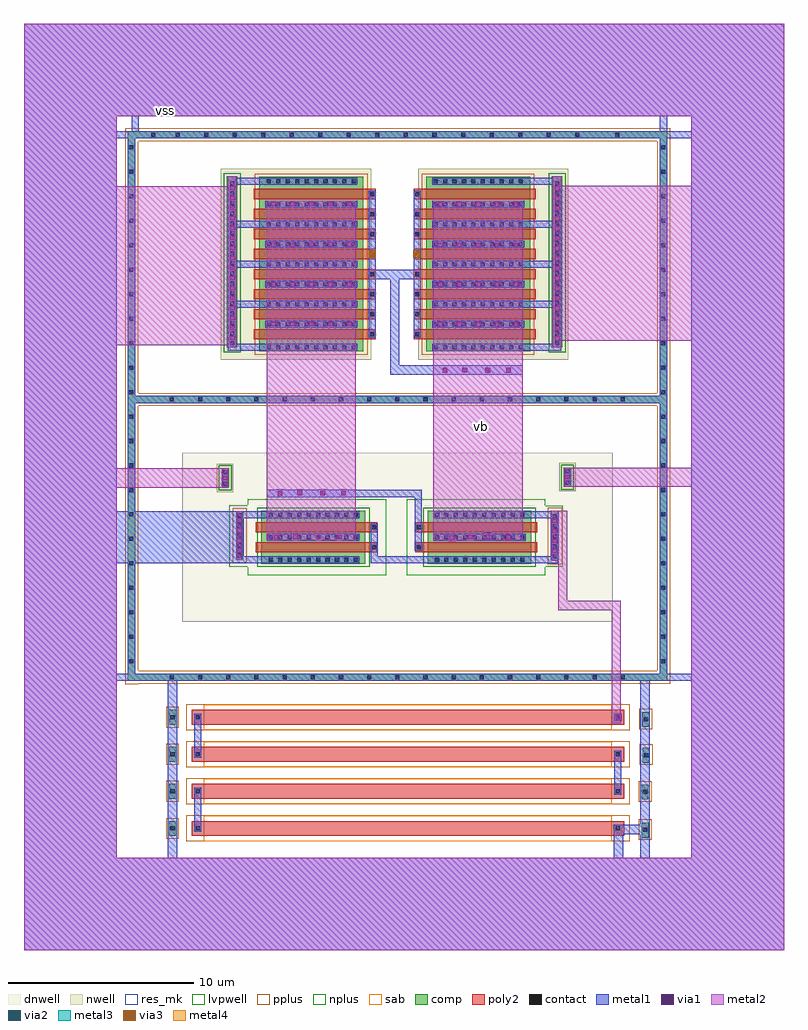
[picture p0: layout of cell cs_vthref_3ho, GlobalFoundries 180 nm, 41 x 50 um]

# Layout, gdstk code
from math import pi, radians
import gdstk
lib = gdstk.Library(unit=1e-6, precision=5e-09)
def R(c, l, rs):  # rectangles x0, y0, x1, y1
    for r in rs: c.add(gdstk.rectangle(r[:2], r[2:], *l))
def A(c, l, x, y, w, h, nx, ny, dx, dy):  # array of equal rectangles
    R(c, l, [(x+i*dx, y+j*dy, x+i*dx+w, y+j*dy+h) for i in range(nx) for j in range(ny)])
def P(c, l, *ps):  # polygons
    for p in ps: c.add(gdstk.Polygon(p, *l))
dnwell = (12, 0)
nwell = (21, 0)
comp = (22, 0)
poly2 = (30, 0)
pplus = (31, 0)
nplus = (32, 0)
contact = (33, 0)
metal1 = (34, 0)
via1 = (35, 0)
metal2 = (36, 0)
via2 = (38, 0)
via3 = (40, 0)
metal3 = (42, 0)
metal4 = (46, 0)
sab = (49, 0)
res_mk = (110, 5)
lvpwell = (204, 0)

pfet = lib.new_cell('pfet')

pfet_7 = lib.new_cell('pfet$7')
R(pfet_7, nwell, [(-0.9,-0.44,9.4,6.04)])
R(pfet_7, comp, [(-0.46,0,0,5.6), (0,0,8.5,5.6), (8.5,0,8.96,5.6)])
A(pfet_7, poly2, 0.19, -0.3, 0.56, 6.2, 8, 1, 1.08, 0)
A(pfet_7, poly2, 0.19, 5.9, 0.56, 0.38, 8, 1, 1.08, 0)
R(pfet_7, pplus, [(-0.63,-0.24,9.13,5.84)])
A(pfet_7, contact, -0.34, 0.395, 0.22, 0.22, 1, 10, 0, 0.51)
A(pfet_7, contact, 0.9, 0.395, 0.22, 0.22, 7, 10, 1.08, 0.51)
A(pfet_7, contact, 8.62, 0.395, 0.22, 0.22, 1, 10, 0, 0.51)
A(pfet_7, contact, 0.36, 5.98, 0.22, 0.22, 8, 1, 1.08, 0)
A(pfet_7, metal1, 0.82, 0.315, 0.38, 4.97, 7, 1, 1.08, 0)
A(pfet_7, metal1, 0.28, 5.9, 0.38, 0.38, 8, 1, 1.08, 0)
R(pfet_7, metal1, [(-0.42,0.315,-0.04,5.285), (8.54,0.315,8.92,5.285)])

via_dev_2 = lib.new_cell('via_dev$2')
R(via_dev_2, metal1, [(0,0,0.4,0.4)])
R(via_dev_2, via1, [(0.07,0.07,0.33,0.33)])
R(via_dev_2, metal2, [(0,0,0.4,0.4)])
R(via_dev_2, via2, [(0.07,0.07,0.33,0.33)])
R(via_dev_2, via3, [(0.07,0.07,0.33,0.33)])
R(via_dev_2, metal3, [(0,0,0.4,0.4)])
R(via_dev_2, metal4, [(0,0,0.4,0.4)])

cnt = lib.new_cell('CNT')

bgp = lib.new_cell('BGP')
P(bgp, nwell, [(-0.815,-5.15),(-0.815,5.15),(0.82,5.15),(0.82,3.28),(0.82,-5.15)])
R(bgp, comp, [(-0.495,-4.49,0.065,4.735)])
R(bgp, nplus, [(-0.675,-4.75,0.245,4.9)])
A(bgp, contact, -0.325, -4.375, 0.22, 0.22, 1, 17, 0, 0.54)
R(bgp, metal1, [(-0.45,-4.49,0.015,4.735)])
R(bgp, metal2, [(-0.45,-4.49,0.015,4.735)])

via1_ = lib.new_cell('VIA1')

via10 = lib.new_cell('VIA10')
R(via10, via1, [(-0.13,-0.13,0.13,0.13)])

ml1 = lib.new_cell('ML1')
R(ml1, metal1, [(-0.78,-0.19,0.78,0.19)])

ml1_0 = lib.new_cell('ML1_0')
R(ml1_0, metal1, [(-1.01,-0.19,1.015,0.19)])

cnt_g = lib.new_cell('CNT_G')

cnt_g2 = lib.new_cell('CNT_G2')

cnt_g3 = lib.new_cell('CNT_G3')
R(cnt_g3, contact, [(-1.225,14.175,-1.005,14.395)])

via11 = lib.new_cell('VIA11')

m1m2 = lib.new_cell('M1M2')

m1m22 = lib.new_cell('M1M22')

m1m23 = lib.new_cell('M1M23')

m1m24 = lib.new_cell('M1M24')

ppolyf_u_resistor = lib.new_cell('ppolyf_u_resistor')
R(ppolyf_u_resistor, comp, [(-1.88,0,-1.52,0.8)])
R(ppolyf_u_resistor, poly2, [(-0.66,0,22.66,0.8)])
R(ppolyf_u_resistor, pplus, [(-0.96,-0.3,22.96,1.1), (-2.04,-0.16,-1.36,0.96)])
R(ppolyf_u_resistor, contact, [(-1.81,0.29,-1.59,0.51), (-0.44,0.29,-0.22,0.51), (22.22,0.29,22.44,0.51)])
R(ppolyf_u_resistor, metal1, [(-1.89,0.21,-1.51,0.59), (-0.52,0.21,-0.14,0.59), (22.14,0.21,22.52,0.59)])
R(ppolyf_u_resistor, sab, [(0,-0.28,22,1.08)])
R(ppolyf_u_resistor, res_mk, [(0,0,22,0.8)])

m1m25 = lib.new_cell('M1M25')

m1m26 = lib.new_cell('M1M26')

m1m27 = lib.new_cell('M1M27')

m1m28 = lib.new_cell('M1M28')

nfet = lib.new_cell('nfet')
R(nfet, dnwell, [(-3.55,-3.26,5.57,9.23)])
R(nfet, comp, [(-0.42,0,0,5.6), (0,0,2.02,5.6), (2.02,0,2.44,5.6)])
R(nfet, poly2, [(0.19,-0.3,0.75,5.9), (1.27,-0.3,1.83,5.9), (0.19,5.9,0.75,6.26), (1.27,5.9,1.83,6.26)])
R(nfet, nplus, [(-0.59,-0.24,2.61,5.84)])
A(nfet, contact, -0.32, 0.395, 0.22, 0.22, 3, 10, 1.22, 0.51)
R(nfet, contact, [(0.36,5.97,0.58,6.19), (1.44,5.97,1.66,6.19)])
A(nfet, metal1, -0.4, 0.315, 0.38, 4.97, 3, 1, 1.22, 0)
R(nfet, metal1, [(0.28,5.89,0.66,6.27), (1.36,5.89,1.74,6.27)])
R(nfet, lvpwell, [(-1.04,-0.75,3.06,6.72)])

nfet_1 = lib.new_cell('nfet$1')
R(nfet_1, dnwell, [(-3.55,-3.26,5.57,9.23)])
R(nfet_1, comp, [(-0.42,0,0,5.6), (0,0,2.02,5.6), (2.02,0,2.44,5.6)])
R(nfet_1, poly2, [(0.19,-0.3,0.75,5.9), (1.27,-0.3,1.83,5.9), (0.19,5.9,0.75,6.26), (1.27,5.9,1.83,6.26)])
R(nfet_1, nplus, [(-0.59,-0.24,2.61,5.84)])
A(nfet_1, contact, -0.32, 0.395, 0.22, 0.22, 3, 10, 1.22, 0.51)
R(nfet_1, contact, [(0.36,5.97,0.58,6.19), (1.44,5.97,1.66,6.19)])
A(nfet_1, metal1, -0.4, 0.315, 0.38, 4.97, 3, 1, 1.22, 0)
R(nfet_1, metal1, [(0.28,5.89,0.66,6.27), (1.36,5.89,1.74,6.27)])
R(nfet_1, lvpwell, [(-1.04,-0.75,3.06,6.72)])

m1m29 = lib.new_cell('M1M29')

m1m30 = lib.new_cell('M1M30')

m1m31 = lib.new_cell('M1M31')

cnt3 = lib.new_cell('CNT3')

cnt4 = lib.new_cell('CNT4')
R(cnt4, contact, [(-0.11,-0.11,0.11,0.11)])

via_dev_3 = lib.new_cell('via_dev$3')
R(via_dev_3, metal1, [(0,0,0.4,0.4)])
R(via_dev_3, via1, [(0.07,0.07,0.33,0.33)])
R(via_dev_3, metal2, [(0,0,0.4,0.4)])

m1m2g = lib.new_cell('M1M2G')
R(m1m2g, metal1, [(-0.5,-0.5,0.5,0.5)])
R(m1m2g, metal2, [(-0.5,-0.5,0.5,0.5)])

m1m2g0 = lib.new_cell('M1M2G0')
R(m1m2g0, metal1, [(-0.5,-0.5,0.5,0.5)])
R(m1m2g0, metal2, [(-0.5,-0.5,0.5,0.5)])

cnt0 = lib.new_cell('CNT0')
R(cnt0, contact, [(-0.11,-0.11,0.11,0.11)])

cs_vthref_3ho = lib.new_cell('cs_vthref_3ho')
R(cs_vthref_3ho, dnwell, [(-11.45,-24.27,-10.45,-15.15), (10.635,-24.27,11.76,-15.15)])
R(cs_vthref_3ho, nwell, [(-9.6,-17.285,-8.7,-15.735), (8.87,-17.24,9.77,-15.69)])
R(cs_vthref_3ho, comp, [(13.325,-33.855,13.69,-33.055), (13.375,-31.87,13.74,-31.07), (13.355,-29.945,13.72,-29.145), (8.42,-20.955,8.85,-18.28), (-8.555,-20.92,-8.175,-18.3), (-9.34,-17.025,-8.96,-15.995), (9.13,-16.98,9.51,-15.95)])
P(cs_vthref_3ho, comp, [(13.325,-35.91),(13.325,-35.38),(13.325,-35.11),(13.695,-35.11),(13.695,-35.91)])
R(cs_vthref_3ho, pplus, [(13.165,-36.035,13.865,-34.92), (13.16,-33.98,13.86,-32.865), (13.21,-31.995,13.91,-30.88), (13.19,-30.07,13.89,-28.955), (8.255,-21.16,9.025,-18.115), (-8.745,-21.09,-7.995,-18.14)])
R(cs_vthref_3ho, nplus, [(-9.5,-17.185,-8.8,-15.835), (8.97,-17.14,9.67,-15.79)])
A(cs_vthref_3ho, contact, 8.525, -20.84, 0.22, 0.22, 1, 5, 0, 0.54)
A(cs_vthref_3ho, contact, -8.485, -20.805, 0.22, 0.22, 1, 5, 0, 0.54)
R(cs_vthref_3ho, contact, [(13.405,-35.61,13.625,-35.39), (13.4,-33.555,13.62,-33.335), (13.45,-31.57,13.67,-31.35), (13.43,-29.65,13.65,-29.43), (-9.255,-16.93,-9.035,-16.71), (9.215,-16.89,9.435,-16.67), (-9.26,-16.31,-9.04,-16.09), (9.21,-16.265,9.43,-16.045), (-13.14,1.89,-12.92,2.11), (11.9,1.89,12.12,2.11)])
R(cs_vthref_3ho, metal1, [(13.335,-35.675,13.715,-35.295), (13.33,-33.62,13.71,-33.24), (13.38,-31.635,13.76,-31.255), (13.36,-29.71,13.74,-29.33), (-15,-21.125,-8.61,-18.3), (-9.01,-21.125,-6.87,-20.745), (7.06,-21.12,8.81,-20.74), (8.425,-20.955,8.81,-18.285), (-8.61,-20.92,-8.145,-18.3), (-9.06,-18.68,-6.875,-18.3), (7.06,-18.68,8.8,-18.3), (-9.31,-17.025,-8.99,-15.995), (9.16,-16.98,9.48,-15.95), (-1.4,-8.95,-1.02,-1.01), (1.02,-8.95,1.4,-1.01)])
A(cs_vthref_3ho, via1, 8.5, -20.58, 0.26, 0.26, 1, 4, 0, 0.54)
A(cs_vthref_3ho, via1, -8.5, -20.545, 0.26, 0.26, 1, 4, 0, 0.54)
A(cs_vthref_3ho, via1, -8.9, -9.095, 0.26, 0.26, 1, 16, 0, 0.54)
A(cs_vthref_3ho, via1, 2.33, -8.35, 0.26, 0.26, 5, 2, 1.02, 2.15)
A(cs_vthref_3ho, via1, -6.67, -8.34, 0.26, 0.26, 5, 2, 1.02, 2.15)
A(cs_vthref_3ho, via1, 2.33, -4.075, 0.26, 0.26, 5, 2, 1.02, 2.2)
A(cs_vthref_3ho, via1, -6.67, -4.065, 0.26, 0.26, 5, 2, 1.02, 2.2)
R(cs_vthref_3ho, via1, [(-9.28,-16.64,-9.02,-16.38), (9.19,-16.595,9.45,-16.335)])
R(cs_vthref_3ho, metal2, [(8.445,-20.97,8.81,-18.28), (-8.52,-20.915,-8.22,-18.3), (-6.91,-19.88,-2.095,-1.55), (2.09,-19.88,6.905,-1.555), (-15,-17.04,-8.97,-15.98), (-9.31,-17.025,-8.99,-15.995), (9.14,-16.98,16,-15.95), (9.16,-16.98,9.48,-15.95), (-15,-9.34,-9.01,-0.765), (8.995,-9.11,16,-0.735)])
R(cs_vthref_3ho, lvpwell, [(8.125,-21.31,9.065,-18.015), (-8.92,-21.29,-7.94,-17.995)])
cs_vthref_3ho.add(gdstk.FlexPath([(-18,-40),(-18,6),(19,6),(19,-40),(-20,-40)], 4, ends="flush", simple_path=True, layer=34, datatype=0))  # metal1
cs_vthref_3ho.add(gdstk.FlexPath([(14.5,-27.085),(14.5,2)], 0.38, ends="flush", simple_path=True, layer=34, datatype=0))  # metal1
cs_vthref_3ho.add(gdstk.FlexPath([(14.5,-27.275),(16.005,-27.275)], 0.38, ends="flush", simple_path=True, layer=34, datatype=0))  # metal1
cs_vthref_3ho.add(gdstk.FlexPath([(14.5,-27.275),(-13.49,-27.275)], 0.38, ends="flush", simple_path=True, layer=34, datatype=0))  # metal1
cs_vthref_3ho.add(gdstk.FlexPath([(-13.49,2),(14.69,2)], 0.38, ends="flush", simple_path=True, layer=34, datatype=0))  # metal1
cs_vthref_3ho.add(gdstk.FlexPath([(14.69,2),(16,2)], 0.38, ends="flush", simple_path=True, layer=34, datatype=0))  # metal1
cs_vthref_3ho.add(gdstk.FlexPath([(-13.49,2),(-15,2)], 0.38, ends="flush", simple_path=True, layer=34, datatype=0))  # metal1
cs_vthref_3ho.add(gdstk.FlexPath([(-13.49,-27.275),(-15,-27.275)], 0.38, ends="flush", simple_path=True, layer=34, datatype=0))  # metal1
cs_vthref_3ho.add(gdstk.FlexPath([(14.5,-12.28),(-14.01,-12.28)], 0.38, ends="flush", simple_path=True, layer=34, datatype=0))  # metal1
cs_vthref_3ho.add(gdstk.FlexPath([(-14.2,-27.085),(-14.2,2.19)], 0.38, ends="flush", simple_path=True, layer=34, datatype=0))  # metal1
cs_vthref_3ho.add(gdstk.FlexPath([(-13.995,2.19),(-13.995,3)], 0.38, ends="flush", simple_path=True, layer=34, datatype=0))  # metal1
cs_vthref_3ho.add(gdstk.FlexPath([(14.5,2.19),(14.5,3)], 0.38, ends="flush", simple_path=True, layer=34, datatype=0))  # metal1
cs_vthref_3ho.add(gdstk.FlexPath([(-1.115,-18.985),(-1.115,-20.93),(2.09,-20.93)], 0.38, ends="flush", simple_path=True, layer=34, datatype=0))  # metal1
cs_vthref_3ho.add(gdstk.FlexPath([(-11.99,-27.46),(-11.99,-37.005)], 0.5, ends="flush", simple_path=True, layer=34, datatype=0))  # metal1
cs_vthref_3ho.add(gdstk.FlexPath([(13.505,-27.425),(13.505,-37)], 0.5, ends="flush", simple_path=True, layer=34, datatype=0))  # metal1
cs_vthref_3ho.add(gdstk.FlexPath([(12.265,-35.48),(13.29,-35.48)], 0.5, ends="flush", simple_path=True, layer=34, datatype=0))  # metal1
cs_vthref_3ho.add(gdstk.FlexPath([(12.065,-35.23),(12.065,-37.08)], 0.5, ends="flush", simple_path=True, layer=34, datatype=0))  # metal1
cs_vthref_3ho.add(gdstk.FlexPath([(-1.02,-5.54),(1.02,-5.54)], 0.5, ends="flush", simple_path=True, layer=34, datatype=0))  # metal1
cs_vthref_3ho.add(gdstk.FlexPath([(0,-5.79),(0,-10.69),(6.905,-10.69)], 0.5, ends="flush", simple_path=True, layer=34, datatype=0))  # metal1
cs_vthref_3ho.add(gdstk.FlexPath([(-10.625,-29.61),(-10.625,-31.235)], 0.38, ends="flush", simple_path=True, layer=34, datatype=0))  # metal1
cs_vthref_3ho.add(gdstk.FlexPath([(12.04,-31.61),(12.04,-33.61)], 0.38, ends="flush", simple_path=True, layer=34, datatype=0))  # metal1
cs_vthref_3ho.add(gdstk.FlexPath([(-10.62,-33.61),(-10.62,-35.14),(-10.62,-35.23)], 0.38, ends="flush", simple_path=True, layer=34, datatype=0))  # metal1
cs_vthref_3ho.add(gdstk.FlexPath([(1.275,-20.43),(1.275,-17.35),(-6.9,-17.35)], 0.38, ends="flush", simple_path=True, layer=34, datatype=0))  # metal1
cs_vthref_3ho.add(gdstk.FlexPath([(-18,-40),(-18,6),(19,6),(19,-40),(-20,-40)], 4, ends="flush", simple_path=True, layer=36, datatype=0))  # metal2
cs_vthref_3ho.add(gdstk.FlexPath([(9.06,-18.28),(9.06,-23.395),(11.945,-23.395),(11.945,-29.755)], 0.5, ends="flush", simple_path=True, layer=36, datatype=0))  # metal2
cs_vthref_3ho.add(gdstk.FlexPath([(14.5,2.35),(14.5,-27.455)], 0.7, ends="flush", simple_path=True, layer=31, datatype=0))  # pplus
cs_vthref_3ho.add(gdstk.FlexPath([(14.85,-27.275),(-14.55,-27.275)], 0.7, ends="flush", simple_path=True, layer=31, datatype=0))  # pplus
cs_vthref_3ho.add(gdstk.FlexPath([(14.5,-12.28),(-14.01,-12.28)], 0.7, ends="flush", simple_path=True, layer=31, datatype=0))  # pplus
cs_vthref_3ho.add(gdstk.FlexPath([(-14.2,2.19),(-14.2,-27.63)], 0.7, ends="flush", simple_path=True, layer=31, datatype=0))  # pplus
cs_vthref_3ho.add(gdstk.FlexPath([(14.69,2),(-14.55,2)], 0.7, ends="flush", simple_path=True, layer=31, datatype=0))  # pplus
cs_vthref_3ho.add(gdstk.FlexPath([(14.5,2),(14.5,-27.465)], 0.38, ends="flush", simple_path=True, layer=22, datatype=0))  # comp
cs_vthref_3ho.add(gdstk.FlexPath([(14.5,-27.275),(-14.39,-27.275)], 0.38, ends="flush", simple_path=True, layer=22, datatype=0))  # comp
cs_vthref_3ho.add(gdstk.FlexPath([(-14.19,2),(14.69,2)], 0.38, ends="flush", simple_path=True, layer=22, datatype=0))  # comp
cs_vthref_3ho.add(gdstk.FlexPath([(14.5,-12.28),(-14.01,-12.28)], 0.38, ends="flush", simple_path=True, layer=22, datatype=0))  # comp
cs_vthref_3ho.add(gdstk.FlexPath([(14.5,-12.28),(-14.01,-12.28)], 0.38, ends="flush", simple_path=True, layer=22, datatype=0))  # comp
cs_vthref_3ho.add(gdstk.FlexPath([(-14.2,2.19),(-14.2,-27.085)], 0.38, ends="flush", simple_path=True, layer=22, datatype=0))  # comp
cs_vthref_3ho.add(gdstk.Reference(pfet, (-2.02,0.01)))
cs_vthref_3ho.add(gdstk.Reference(pfet_7, (-7.3,-9.23), rotation=pi/2, x_reflection=True))
cs_vthref_3ho.add(gdstk.Reference(via_dev_2, (0.99,-4.635)))
cs_vthref_3ho.add(gdstk.Reference(via_dev_2, (-1.015,-4.64), rotation=pi/2))
cs_vthref_3ho.add(gdstk.Reference(pfet_7, (7.3,-9.23), rotation=pi/2))
r = gdstk.Reference(cnt, (-8.775,-9.245)); r.repetition = gdstk.Repetition(1, 17, v1=(0,0), v2=(0,0.54)); cs_vthref_3ho.add(r)
cs_vthref_3ho.add(gdstk.Reference(bgp, (-8.56,-4.98)))
cs_vthref_3ho.add(gdstk.Reference(bgp, (8.545,-4.98), rotation=pi, x_reflection=True))
r = gdstk.Reference(via1_, (-8.78,-8.975)); r.repetition = gdstk.Repetition(1, 16, v1=(0,0), v2=(0,0.54)); cs_vthref_3ho.add(r)
cs_vthref_3ho.add(gdstk.Reference(via1_, (8.76,-8.975)))
r = gdstk.Reference(via10, (8.76,-8.975)); r.repetition = gdstk.Repetition(1, 16, v1=(0,0), v2=(0,0.54)); cs_vthref_3ho.add(r)
r = gdstk.Reference(ml1, (-7.765,-7.14)); r.repetition = gdstk.Repetition(2, 3, v1=(15.52,0), v2=(0,2.16)); cs_vthref_3ho.add(r)
r = gdstk.Reference(ml1_0, (-8,-9.46)); r.repetition = gdstk.Repetition(2, 2, v1=(15.98,0), v2=(0,8.96)); cs_vthref_3ho.add(r)
r = gdstk.Reference(cnt_g, (-12,-18.5)); r.repetition = gdstk.Repetition(2, 14, v1=(24,0), v2=(0,1.54)); cs_vthref_3ho.add(r)
r = gdstk.Reference(cnt_g2, (-10.575,-19.01)); r.repetition = gdstk.Repetition(15, 2, v1=(1.54,0), v2=(0,21)); cs_vthref_3ho.add(r)
cs_vthref_3ho.add(gdstk.Reference(cnt, (10.855,-12.545)))
r = gdstk.Reference(cnt_g3, (-10.6,-12.285)); r.repetition = gdstk.Repetition(15, 1, v1=(1.54,0), v2=(0,0)); cs_vthref_3ho.add(r)
cs_vthref_3ho.add(gdstk.Reference(cnt, (-12.28,1.985)))
r = gdstk.Reference(via11, (2.54,-15.845)); r.repetition = gdstk.Repetition(5, 1, v1=(1.02,0), v2=(0,0)); cs_vthref_3ho.add(r)
r = gdstk.Reference(m1m2, (-14.5,-29.5)); r.repetition = gdstk.Repetition(30, 2, v1=(1,0), v2=(0,33)); cs_vthref_3ho.add(r)
r = gdstk.Reference(m1m22, (-14.5,-28.495)); r.repetition = gdstk.Repetition(2, 32, v1=(29,0), v2=(0,1)); cs_vthref_3ho.add(r)
r = gdstk.Reference(m1m23, (-14.5,-33.5)); r.repetition = gdstk.Repetition(30, 2, v1=(1,0), v2=(0,37)); cs_vthref_3ho.add(r)
r = gdstk.Reference(m1m24, (-14.5,-32.5)); r.repetition = gdstk.Repetition(2, 4, v1=(29,0), v2=(0,1)); cs_vthref_3ho.add(r)
r = gdstk.Reference(ppolyf_u_resistor, (-10.29,-35.82)); r.repetition = gdstk.Repetition(1, 4, v1=(0,0), v2=(0,2)); cs_vthref_3ho.add(r)
r = gdstk.Reference(m1m25, (-14.5,-33.495)); r.repetition = gdstk.Repetition(2, 5, v1=(29,0), v2=(0,1)); cs_vthref_3ho.add(r)
r = gdstk.Reference(m1m26, (-14.5,-34.5)); r.repetition = gdstk.Repetition(18, 2, v1=(1,0), v2=(0,38)); cs_vthref_3ho.add(r)
r = gdstk.Reference(m1m27, (-14.5,-34.5)); r.repetition = gdstk.Repetition(28, 2, v1=(1,0), v2=(0,35)); cs_vthref_3ho.add(r)
r = gdstk.Reference(m1m28, (-14.5,-34.5)); r.repetition = gdstk.Repetition(30, 2, v1=(1,0), v2=(0,38)); cs_vthref_3ho.add(r)
cs_vthref_3ho.add(gdstk.Reference(nfet, (7.375,-18.7), rotation=3*pi/2, x_reflection=True))
cs_vthref_3ho.add(gdstk.Reference(nfet_1, (-7.19,-18.7), rotation=3*pi/2))
r = gdstk.Reference(m1m29, (-14.5,-37.5)); r.repetition = gdstk.Repetition(30, 2, v1=(1,0), v2=(0,41)); cs_vthref_3ho.add(r)
r = gdstk.Reference(m1m30, (-14.5,-36.5)); r.repetition = gdstk.Repetition(1, 2, v1=(0,0), v2=(40,1)); cs_vthref_3ho.add(r)
r = gdstk.Reference(m1m31, (-14.5,-36.5)); r.repetition = gdstk.Repetition(2, 3, v1=(29,0), v2=(0,1)); cs_vthref_3ho.add(r)
r = gdstk.Reference(cnt3, (-13.3,-26.5)); r.repetition = gdstk.Repetition(2, 19, v1=(26.8,0), v2=(0,1.52)); cs_vthref_3ho.add(r)
r = gdstk.Reference(cnt4, (-12.02,-27.27)); r.repetition = gdstk.Repetition(17, 2, v1=(1.52,0), v2=(0,15)); cs_vthref_3ho.add(r)
cs_vthref_3ho.add(gdstk.Reference(via_dev_3, (2.515,-10.905)))
cs_vthref_3ho.add(gdstk.Reference(via_dev_3, (3.575,-10.89)))
cs_vthref_3ho.add(gdstk.Reference(via_dev_3, (4.815,-10.9)))
cs_vthref_3ho.add(gdstk.Reference(via_dev_3, (5.94,-10.9)))
cs_vthref_3ho.add(gdstk.Reference(via_dev_3, (2.88,-19.925)))
cs_vthref_3ho.add(gdstk.Reference(via_dev_3, (3.87,-19.9)))
cs_vthref_3ho.add(gdstk.Reference(via_dev_3, (4.84,-19.88)))
cs_vthref_3ho.add(gdstk.Reference(via_dev_3, (5.93,-19.91)))
cs_vthref_3ho.add(gdstk.Reference(via_dev_3, (11.84,-29.62)))
cs_vthref_3ho.add(gdstk.Reference(via_dev_3, (-6.385,-17.53)))
cs_vthref_3ho.add(gdstk.Reference(via_dev_3, (-5.325,-17.515)))
cs_vthref_3ho.add(gdstk.Reference(via_dev_3, (-4.085,-17.525)))
cs_vthref_3ho.add(gdstk.Reference(via_dev_3, (-2.96,-17.525)))
cs_vthref_3ho.add(gdstk.Reference(via_dev_3, (-6.61,-19.905)))
cs_vthref_3ho.add(gdstk.Reference(via_dev_3, (-5.55,-19.89)))
cs_vthref_3ho.add(gdstk.Reference(via_dev_3, (-4.31,-19.9)))
cs_vthref_3ho.add(gdstk.Reference(via_dev_3, (-3.185,-19.9)))
cs_vthref_3ho.add(gdstk.Reference(m1m31, (-14.5,-37.505)))
r = gdstk.Reference(m1m2g, (-15.5,-37.5)); r.repetition = gdstk.Repetition(2, 42, v1=(32,0), v2=(0,1)); cs_vthref_3ho.add(r)
r = gdstk.Reference(m1m2g0, (-14.5,-37.5)); r.repetition = gdstk.Repetition(31, 2, v1=(1,0), v2=(0,41)); cs_vthref_3ho.add(r)
r = gdstk.Reference(cnt0, (-14.205,-26.4)); r.repetition = gdstk.Repetition(2, 22, v1=(28.7,0), v2=(0,1.32)); cs_vthref_3ho.add(r)
cs_vthref_3ho.add(gdstk.Label('vss', (-12.35,3.295), layer=34, texttype=10))
cs_vthref_3ho.add(gdstk.Label('vdd', (-13.47,3.315), layer=36, texttype=10))
cs_vthref_3ho.add(gdstk.Label('vb', (4.675,-13.74), layer=36, texttype=10))

lib.write_gds('cs_vthref_3ho.gds')
